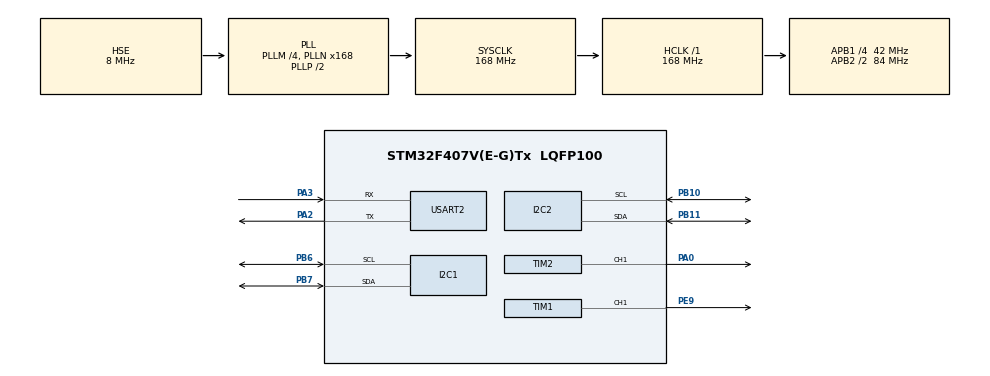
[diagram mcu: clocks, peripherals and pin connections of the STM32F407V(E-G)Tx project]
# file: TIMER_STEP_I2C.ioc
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Mcu.Family=STM32F4
Mcu.Name=STM32F407V(E-G)Tx
Mcu.Package=LQFP100
NVIC.PriorityGroup=NVIC_PRIORITYGROUP_4
NVIC.TIM2_IRQn=true\:0\:0\:false\:false\:true\:true\:true\:true
PA0-WKUP.Signal=S_TIM2_CH1_ETR
PA13.Mode=Serial_Wire
PA13.Signal=SYS_JTMS-SWDIO
PA14.Mode=Serial_Wire
PA14.Signal=SYS_JTCK-SWCLK
PA2.Mode=Asynchronous
PA2.Signal=USART2_TX
PA3.Mode=Asynchronous
PA3.Signal=USART2_RX
PB10.Mode=I2C
PB10.Signal=I2C2_SCL
PB11.Mode=I2C
PB11.Signal=I2C2_SDA
PB6.Mode=I2C
PB6.Signal=I2C1_SCL
PB7.Mode=I2C
PB7.Signal=I2C1_SDA
PE9.Signal=S_TIM1_CH1
PH0-OSC_IN.Mode=HSE-External-Oscillator
PH0-OSC_IN.Signal=RCC_OSC_IN
PH1-OSC_OUT.Mode=HSE-External-Oscillator
PH1-OSC_OUT.Signal=RCC_OSC_OUT
ProjectManager.HeapSize=0x200
ProjectManager.StackSize=0x400
ProjectManager.TargetToolchain=MDK-ARM V5.32
RCC.48MHZClocksFreq_Value=84000000
RCC.AHBFreq_Value=168000000
RCC.APB1CLKDivider=RCC_HCLK_DIV4
RCC.APB1Freq_Value=42000000
RCC.APB1TimFreq_Value=84000000
RCC.APB2CLKDivider=RCC_HCLK_DIV2
RCC.APB2Freq_Value=84000000
RCC.APB2TimFreq_Value=168000000
RCC.CortexFreq_Value=168000000
RCC.HCLKFreq_Value=168000000
RCC.HSE_VALUE=8000000
RCC.HSI_VALUE=16000000
RCC.LSE_VALUE=32768
RCC.PLLM=4
RCC.PLLN=168
RCC.PLLSourceVirtual=RCC_PLLSOURCE_HSE
RCC.SYSCLKFreq_VALUE=168000000
RCC.SYSCLKSource=RCC_SYSCLKSOURCE_PLLCLK
RCC.VCOOutputFreq_Value=336000000
SH.S_TIM1_CH1.0=TIM1_CH1,PWM Generation1 CH1
SH.S_TIM2_CH1_ETR.0=TIM2_CH1,Output Compare1 CH1
TIM1.Channel-PWM\ Generation1\ CH1=TIM_CHANNEL_1
TIM1.Period=10000-1
TIM1.Prescaler=336-1
TIM1.Pulse-PWM\ Generation1\ CH1=999
TIM2.Channel-Output\ Compare1\ CH1=TIM_CHANNEL_1
TIM2.Channel-Output\ Compare2\ No\ Output=TIM_CHANNEL_2
TIM2.OCMode_1=TIM_OCMODE_TOGGLE
TIM2.Period=1000-1
TIM2.Prescaler=3360-1
TIM2.Pulse-Output\ Compare2\ No\ Output=0
USART2.VirtualMode=VM_ASYNC
VP_TIM1_VS_ClockSourceINT.Mode=Internal
VP_TIM2_VS_ClockSourceINT.Mode=Internal
VP_TIM2_VS_no_output2.Mode=Output Compare2 No Output
board=custom

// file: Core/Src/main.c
/* USER CODE BEGIN Header */
/**
  ******************************************************************************
  * @file           : main.c
  * @brief          : Main program body
  ******************************************************************************
  * @attention
  *
  * Copyright (c) 2023 STMicroelectronics.
  * All rights reserved.
  *
  * This software is licensed under terms that can be found in the LICENSE file
  * in the root directory of this software component.
  * If no LICENSE file comes with this software, it is provided AS-IS.
  *
  ******************************************************************************
  */
/* USER CODE END Header */
#include "main.h"
#include "i2c.h"
#include "tim.h"
#include "usart.h"
#include "gpio.h"

/* USER CODE BEGIN Includes */
#include "i2c-lcd.h"
#include <stdio.h>
/* USER CODE END Includes */

/* USER CODE BEGIN PV */

typedef struct
{
	int giay;
	int phut;
	int gio;
	int timer;
	int goc;

}
time_thai;

time_thai time;
///////////////
typedef struct
{
	int units;
	int tens;
}
time_gio;
time_gio gio;
///////////////
typedef struct
{
	int units;
	int tens;
}
time_phut;
time_phut phut;
///////////////
typedef struct
{
	int units;
	int tens;
}
time_giay;
time_giay giay;

uint16_t var =250;
uint16_t status=0;
int number;

char buffer[20];
	int fputc(int ch, FILE * f)
	{
		HAL_UART_Transmit( & huart2, (uint8_t * ) & ch, 1, HAL_MAX_DELAY);
		return ch;
	}

/* USER CODE END PV */

void SystemClock_Config(void);

/* USER CODE BEGIN 0 */

void HAL_TIM_OC_DelayElapsedCallback(TIM_HandleTypeDef *htim)
{
	 if(htim->Channel == HAL_TIM_ACTIVE_CHANNEL_1)//line 87 la dung timer 2 , chanel 1 ,de tao ngat thay doi duty
   {

			time.goc++;
			if ((time.goc == 50)&&(status==0))// giai thich, cu 1 s >> quay 1 goc(1s =50)
			{
				var = var + 200;
				time.goc =0;

				if (var >= 1200) // 1200 -> 2.4ms// vi do bam =10000, nen PW =1200 <=>12 %)
				{

					var = 1200;
					status=1;
				}
			}
		if ((time.goc == 50)&&(status == 1))
		{
			var = var - 200;
			time.goc=0;
			if (var <= 250) // 250 -> 0.5ms vi do bam =10000, nen PW =250 <=>2,5 %
			{
				var = 250;
				status = 0;
			}
		}
		__HAL_TIM_SetCompare(&htim1, TIM_CHANNEL_1, var);// line 110 la dung time1, chanel 1

		}

	////////////////////////////////////////////////////
	  if(htim->Channel == HAL_TIM_ACTIVE_CHANNEL_2)
		{
			  time.timer=time.timer+1;
				if(time.timer==50)
				{
					time.timer=0;
					time.giay++;
				}

		}

  /* Prevent unused argument(s) compilation warning */
  UNUSED(htim);

  /* NOTE : This function should not be modified, when the callback is needed,
            the HAL_TIM_PeriodElapsedCallback could be implemented in the user file
   */
}

/* USER CODE END 0 */

int main(void)
{

  /* MCU Configuration--------------------------------------------------------*/

  /* Reset of all peripherals, Initializes the Flash interface and the Systick. */
  HAL_Init();

  /* Configure the system clock */
  SystemClock_Config();

  /* Initialize all configured peripherals */
  MX_GPIO_Init();
  MX_I2C1_Init();
  MX_TIM1_Init();
  MX_I2C2_Init();
  MX_USART2_UART_Init();
  MX_TIM2_Init();
  /* USER CODE BEGIN 2 */
	lcd_init();
	//khoi tao htim1
	HAL_TIM_PWM_Start(&htim1,TIM_CHANNEL_1);
	HAL_TIM_OC_Start_IT(&htim1,TIM_CHANNEL_2);
	//khoi tao htim2
	HAL_TIM_OC_Start_IT(&htim2,TIM_CHANNEL_1);
	HAL_TIM_OC_Start_IT(&htim2,TIM_CHANNEL_2);

  /* USER CODE END 2 */

  /* Infinite loop */
  while (1)
  {

    /* USER CODE BEGIN 3 */
		char buffer[20];
		if(time.giay==60)
		{
			time.giay=0;
			time.phut++;
			if(time.phut==60)
			{
				time.phut=0;
				time.gio++;
				if(time.gio==24)
				{
					time.gio=0;
				}
			}
		}
		lcd_put_cur(1,0);
		sprintf (buffer,"DA:%d ",time.gio);
		gio.tens=(time.gio % 100) / 10;
		gio.units = time.gio % 10;
		lcd_send_data(gio.tens + '0');// de chuyen kieu sp nguyen >> ma ACSII
		lcd_send_data(gio.units + '0');
		lcd_send_string(":");

		phut.tens=(time.phut% 100) / 10;
		phut.units = time.phut%10;
		lcd_send_data(phut.tens + '0');// de chuyen kieu sp nguyen >> ma ACSII
		lcd_send_data(phut.units+ '0');
		lcd_send_string(":");

		giay.tens=(time.giay% 100) / 10;
		giay.units = time.giay%10;
		lcd_send_data(giay.tens+ '0');// de chuyen kieu sp nguyen >> ma ACSII
		lcd_send_data(giay.units + '0');

		printf("%d:%d:%d \r\n",time.gio,time.phut,time.giay );

  }
  /* USER CODE END 3 */
}

void SystemClock_Config(void)
{
  RCC_OscInitTypeDef RCC_OscInitStruct = {0};
  RCC_ClkInitTypeDef RCC_ClkInitStruct = {0};

  /** Configure the main internal regulator output voltage
  */
  __HAL_RCC_PWR_CLK_ENABLE();
  __HAL_PWR_VOLTAGESCALING_CONFIG(PWR_REGULATOR_VOLTAGE_SCALE1);

  /** Initializes the RCC Oscillators according to the specified parameters
  * in the RCC_OscInitTypeDef structure.
  */
  RCC_OscInitStruct.OscillatorType = RCC_OSCILLATORTYPE_HSE;
  RCC_OscInitStruct.HSEState = RCC_HSE_ON;
  RCC_OscInitStruct.PLL.PLLState = RCC_PLL_ON;
  RCC_OscInitStruct.PLL.PLLSource = RCC_PLLSOURCE_HSE;
  RCC_OscInitStruct.PLL.PLLM = 4;
  RCC_OscInitStruct.PLL.PLLN = 168;
  RCC_OscInitStruct.PLL.PLLP = RCC_PLLP_DIV2;
  RCC_OscInitStruct.PLL.PLLQ = 4;
  if (HAL_RCC_OscConfig(&RCC_OscInitStruct) != HAL_OK)
  {
    Error_Handler();
  }

  /** Initializes the CPU, AHB and APB buses clocks
  */
  RCC_ClkInitStruct.ClockType = RCC_CLOCKTYPE_HCLK|RCC_CLOCKTYPE_SYSCLK
                              |RCC_CLOCKTYPE_PCLK1|RCC_CLOCKTYPE_PCLK2;
  RCC_ClkInitStruct.SYSCLKSource = RCC_SYSCLKSOURCE_PLLCLK;
  RCC_ClkInitStruct.AHBCLKDivider = RCC_SYSCLK_DIV1;
  RCC_ClkInitStruct.APB1CLKDivider = RCC_HCLK_DIV4;
  RCC_ClkInitStruct.APB2CLKDivider = RCC_HCLK_DIV2;

  if (HAL_RCC_ClockConfig(&RCC_ClkInitStruct, FLASH_LATENCY_5) != HAL_OK)
  {
    Error_Handler();
  }
}

void Error_Handler(void)
{
  __disable_irq();
  while (1)
  {
  }
}
